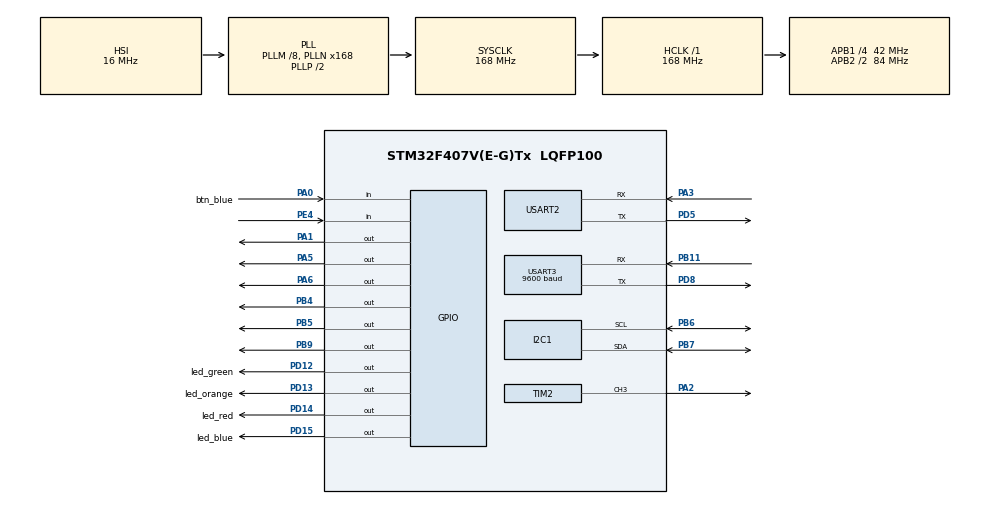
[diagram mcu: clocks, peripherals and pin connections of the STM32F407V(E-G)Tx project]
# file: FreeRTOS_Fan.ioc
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Mcu.Family=STM32F4
Mcu.Name=STM32F407V(E-G)Tx
Mcu.Package=LQFP100
NVIC.PriorityGroup=NVIC_PRIORITYGROUP_4
NVIC.TIM7_IRQn=true\:15\:0\:false\:false\:true\:false\:true\:true
NVIC.TimeBase=TIM7_IRQn
NVIC.TimeBaseIP=TIM7
NVIC.USART3_IRQn=true\:5\:0\:true\:false\:true\:true\:true\:true
PA0-WKUP.GPIO_Label=btn_blue
PA0-WKUP.Signal=GPIO_Input
PA1.Signal=GPIO_Output
PA13.Mode=Serial_Wire
PA13.Signal=SYS_JTMS-SWDIO
PA14.Mode=Serial_Wire
PA14.Signal=SYS_JTCK-SWCLK
PA2.Signal=S_TIM2_CH3
PA3.Mode=Asynchronous
PA3.Signal=USART2_RX
PA5.Signal=GPIO_Output
PA6.Signal=GPIO_Output
PB11.Mode=Asynchronous
PB11.Signal=USART3_RX
PB4.Signal=GPIO_Output
PB5.Signal=GPIO_Output
PB6.Mode=I2C
PB6.Signal=I2C1_SCL
PB7.Mode=I2C
PB7.Signal=I2C1_SDA
PB9.Signal=GPIO_Output
PD12.GPIO_Label=led_green
PD12.Signal=GPIO_Output
PD13.GPIO_Label=led_orange
PD13.Signal=GPIO_Output
PD14.GPIO_Label=led_red
PD14.Signal=GPIO_Output
PD15.GPIO_Label=led_blue
PD15.Signal=GPIO_Output
PD5.Mode=Asynchronous
PD5.Signal=USART2_TX
PD8.Mode=Asynchronous
PD8.Signal=USART3_TX
PE4.Signal=GPIO_Input
PH0-OSC_IN.Mode=HSE-External-Oscillator
PH0-OSC_IN.Signal=RCC_OSC_IN
PH1-OSC_OUT.Mode=HSE-External-Oscillator
PH1-OSC_OUT.Signal=RCC_OSC_OUT
ProjectManager.HeapSize=0x200
ProjectManager.StackSize=0x400
ProjectManager.TargetToolchain=STM32CubeIDE
RCC.48MHZClocksFreq_Value=84000000
RCC.AHBFreq_Value=168000000
RCC.APB1CLKDivider=RCC_HCLK_DIV4
RCC.APB1Freq_Value=42000000
RCC.APB1TimFreq_Value=84000000
RCC.APB2CLKDivider=RCC_HCLK_DIV2
RCC.APB2Freq_Value=84000000
RCC.APB2TimFreq_Value=168000000
RCC.CortexFreq_Value=168000000
RCC.HCLKFreq_Value=168000000
RCC.HSE_VALUE=25000000
RCC.HSI_VALUE=16000000
RCC.LSE_VALUE=32768
RCC.PLLM=8
RCC.PLLN=168
RCC.SYSCLKFreq_VALUE=168000000
RCC.SYSCLKSource=RCC_SYSCLKSOURCE_PLLCLK
RCC.VCOOutputFreq_Value=336000000
SH.S_TIM2_CH3.0=TIM2_CH3,PWM Generation3 CH3
TIM1.Prescaler=167
TIM2.Channel-PWM\ Generation3\ CH3=TIM_CHANNEL_3
TIM2.Period=1999
TIM2.Prescaler=89
USART2.VirtualMode=VM_ASYNC
USART3.BaudRate=9600
USART3.VirtualMode=VM_ASYNC
VP_SYS_VS_tim7.Mode=TIM7
VP_TIM1_VS_ClockSourceINT.Mode=Internal
VP_TIM2_VS_ClockSourceINT.Mode=Internal
board=custom

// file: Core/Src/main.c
/* USER CODE BEGIN Header */
/**
  ******************************************************************************
  * @file           : main.c
  * @brief          : Main program body
  ******************************************************************************
  * @attention
  *
  * Copyright (c) 2025 STMicroelectronics.
  * All rights reserved.
  *
  * This software is licensed under terms that can be found in the LICENSE file
  * in the root directory of this software component.
  * If no LICENSE file comes with this software, it is provided AS-IS.
  *
  ******************************************************************************
  */
/* USER CODE END Header */
#include "main.h"

/* USER CODE BEGIN Includes */
#include <stdio.h>
#include "ssd1306.h"
#include "ssd1306_tests.h"
#include "ssd1306_fonts.h"
#include "FreeRTOS.h"
#include "task.h"
#include "queue.h"
#include "state.h"
#include "string.h"
#include "log_queue.h"
#include "fan_control.h"
#include "bt.h"
#include "dht11.h"
#include "ir_sensor.h"
#include "display_oled.h"
#include "logging.h"
/* USER CODE END Includes */

I2C_HandleTypeDef hi2c1;
TIM_HandleTypeDef htim1;
TIM_HandleTypeDef htim2;
UART_HandleTypeDef huart2;
UART_HandleTypeDef huart3;

void SystemClock_Config(void);
static void MX_GPIO_Init(void);
static void MX_I2C1_Init(void);
static void MX_TIM2_Init(void);
static void MX_TIM1_Init(void);
static void MX_USART3_UART_Init(void);
static void MX_USART2_UART_Init(void);

int main(void)
{

  /* MCU Configuration--------------------------------------------------------*/

  /* Reset of all peripherals, Initializes the Flash interface and the Systick. */
  HAL_Init();

  /* Configure the system clock */
  SystemClock_Config();

  /* Initialize all configured peripherals */
  MX_GPIO_Init();
  MX_I2C1_Init();
  MX_TIM2_Init();
  MX_TIM1_Init();
  MX_USART3_UART_Init();
  MX_USART2_UART_Init();
  /* USER CODE BEGIN 2 */
  ssd1306_Init();
  HAL_TIM_PWM_Start(&htim2, TIM_CHANNEL_3); //PB2 TIM2 CH3
  // init
  ir_init();
  log_init();
  state_init();
  bt_init();
  log_record(LOG_SRC_SYSTEM, LOG_TYPE_INFO,
             "system boot: started");

  xTaskCreate(
			  FanControl_task,
			  "fan",
			  256,
			  NULL,
			  1,
			  NULL);

  xTaskCreate(
			  DHT11_task,
			  "dht11",
			  256,
			  NULL,
			  1,
			  NULL);

  xTaskCreate(
		  	  OLED_task,
  			  "oled",
  			  256,
  			  NULL,
  			  1,
  			  NULL);

  xTaskCreate(
		  	  BtReceive_task,
  			  "bt",
  			  256,
  			  NULL,
  			  2,
  			  NULL);

  xTaskCreate(
		  	  IR_task,
			  "ir",
			  128,
			  NULL,
			  1,
			  NULL);

  xTaskCreate(
          Log_task,
          "log",
          256,
          NULL,
          1,
          NULL);

  vTaskStartScheduler();
  /* USER CODE END 2 */

  /* Infinite loop */
  while (1)
  {

  }
}

void SystemClock_Config(void)
{
  RCC_OscInitTypeDef RCC_OscInitStruct = {0};
  RCC_ClkInitTypeDef RCC_ClkInitStruct = {0};

  /** Configure the main internal regulator output voltage
  */
  __HAL_RCC_PWR_CLK_ENABLE();
  __HAL_PWR_VOLTAGESCALING_CONFIG(PWR_REGULATOR_VOLTAGE_SCALE1);

  /** Initializes the RCC Oscillators according to the specified parameters
  * in the RCC_OscInitTypeDef structure.
  */
  RCC_OscInitStruct.OscillatorType = RCC_OSCILLATORTYPE_HSI;
  RCC_OscInitStruct.HSIState = RCC_HSI_ON;
  RCC_OscInitStruct.HSICalibrationValue = RCC_HSICALIBRATION_DEFAULT;
  RCC_OscInitStruct.PLL.PLLState = RCC_PLL_ON;
  RCC_OscInitStruct.PLL.PLLSource = RCC_PLLSOURCE_HSI;
  RCC_OscInitStruct.PLL.PLLM = 8;
  RCC_OscInitStruct.PLL.PLLN = 168;
  RCC_OscInitStruct.PLL.PLLP = RCC_PLLP_DIV2;
  RCC_OscInitStruct.PLL.PLLQ = 4;
  if (HAL_RCC_OscConfig(&RCC_OscInitStruct) != HAL_OK)
  {
    Error_Handler();
  }

  /** Initializes the CPU, AHB and APB buses clocks
  */
  RCC_ClkInitStruct.ClockType = RCC_CLOCKTYPE_HCLK|RCC_CLOCKTYPE_SYSCLK
                              |RCC_CLOCKTYPE_PCLK1|RCC_CLOCKTYPE_PCLK2;
  RCC_ClkInitStruct.SYSCLKSource = RCC_SYSCLKSOURCE_PLLCLK;
  RCC_ClkInitStruct.AHBCLKDivider = RCC_SYSCLK_DIV1;
  RCC_ClkInitStruct.APB1CLKDivider = RCC_HCLK_DIV4;
  RCC_ClkInitStruct.APB2CLKDivider = RCC_HCLK_DIV2;

  if (HAL_RCC_ClockConfig(&RCC_ClkInitStruct, FLASH_LATENCY_5) != HAL_OK)
  {
    Error_Handler();
  }
}

static void MX_I2C1_Init(void)
{

  hi2c1.Instance = I2C1;
  hi2c1.Init.ClockSpeed = 100000;
  hi2c1.Init.DutyCycle = I2C_DUTYCYCLE_2;
  hi2c1.Init.OwnAddress1 = 0;
  hi2c1.Init.AddressingMode = I2C_ADDRESSINGMODE_7BIT;
  hi2c1.Init.DualAddressMode = I2C_DUALADDRESS_DISABLE;
  hi2c1.Init.OwnAddress2 = 0;
  hi2c1.Init.GeneralCallMode = I2C_GENERALCALL_DISABLE;
  hi2c1.Init.NoStretchMode = I2C_NOSTRETCH_DISABLE;
  if (HAL_I2C_Init(&hi2c1) != HAL_OK)
  {
    Error_Handler();
  }

}

static void MX_TIM1_Init(void)
{

  TIM_ClockConfigTypeDef sClockSourceConfig = {0};
  TIM_MasterConfigTypeDef sMasterConfig = {0};

  htim1.Instance = TIM1;
  htim1.Init.Prescaler = 167;
  htim1.Init.CounterMode = TIM_COUNTERMODE_UP;
  htim1.Init.Period = 65535;
  htim1.Init.ClockDivision = TIM_CLOCKDIVISION_DIV1;
  htim1.Init.RepetitionCounter = 0;
  htim1.Init.AutoReloadPreload = TIM_AUTORELOAD_PRELOAD_DISABLE;
  if (HAL_TIM_Base_Init(&htim1) != HAL_OK)
  {
    Error_Handler();
  }
  sClockSourceConfig.ClockSource = TIM_CLOCKSOURCE_INTERNAL;
  if (HAL_TIM_ConfigClockSource(&htim1, &sClockSourceConfig) != HAL_OK)
  {
    Error_Handler();
  }
  sMasterConfig.MasterOutputTrigger = TIM_TRGO_RESET;
  sMasterConfig.MasterSlaveMode = TIM_MASTERSLAVEMODE_DISABLE;
  if (HAL_TIMEx_MasterConfigSynchronization(&htim1, &sMasterConfig) != HAL_OK)
  {
    Error_Handler();
  }

}

static void MX_TIM2_Init(void)
{

  TIM_ClockConfigTypeDef sClockSourceConfig = {0};
  TIM_MasterConfigTypeDef sMasterConfig = {0};
  TIM_OC_InitTypeDef sConfigOC = {0};

  htim2.Instance = TIM2;
  htim2.Init.Prescaler = 89;
  htim2.Init.CounterMode = TIM_COUNTERMODE_UP;
  htim2.Init.Period = 1999;
  htim2.Init.ClockDivision = TIM_CLOCKDIVISION_DIV1;
  htim2.Init.AutoReloadPreload = TIM_AUTORELOAD_PRELOAD_DISABLE;
  if (HAL_TIM_Base_Init(&htim2) != HAL_OK)
  {
    Error_Handler();
  }
  sClockSourceConfig.ClockSource = TIM_CLOCKSOURCE_INTERNAL;
  if (HAL_TIM_ConfigClockSource(&htim2, &sClockSourceConfig) != HAL_OK)
  {
    Error_Handler();
  }
  if (HAL_TIM_PWM_Init(&htim2) != HAL_OK)
  {
    Error_Handler();
  }
  sMasterConfig.MasterOutputTrigger = TIM_TRGO_RESET;
  sMasterConfig.MasterSlaveMode = TIM_MASTERSLAVEMODE_DISABLE;
  if (HAL_TIMEx_MasterConfigSynchronization(&htim2, &sMasterConfig) != HAL_OK)
  {
    Error_Handler();
  }
  sConfigOC.OCMode = TIM_OCMODE_PWM1;
  sConfigOC.Pulse = 0;
  sConfigOC.OCPolarity = TIM_OCPOLARITY_HIGH;
  sConfigOC.OCFastMode = TIM_OCFAST_DISABLE;
  if (HAL_TIM_PWM_ConfigChannel(&htim2, &sConfigOC, TIM_CHANNEL_3) != HAL_OK)
  {
    Error_Handler();
  }
  HAL_TIM_MspPostInit(&htim2);

}

static void MX_USART2_UART_Init(void)
{

  huart2.Instance = USART2;
  huart2.Init.BaudRate = 115200;
  huart2.Init.WordLength = UART_WORDLENGTH_8B;
  huart2.Init.StopBits = UART_STOPBITS_1;
  huart2.Init.Parity = UART_PARITY_NONE;
  huart2.Init.Mode = UART_MODE_TX_RX;
  huart2.Init.HwFlowCtl = UART_HWCONTROL_NONE;
  huart2.Init.OverSampling = UART_OVERSAMPLING_16;
  if (HAL_UART_Init(&huart2) != HAL_OK)
  {
    Error_Handler();
  }

}

static void MX_USART3_UART_Init(void)
{

  huart3.Instance = USART3;
  huart3.Init.BaudRate = 9600;
  huart3.Init.WordLength = UART_WORDLENGTH_8B;
  huart3.Init.StopBits = UART_STOPBITS_1;
  huart3.Init.Parity = UART_PARITY_NONE;
  huart3.Init.Mode = UART_MODE_TX_RX;
  huart3.Init.HwFlowCtl = UART_HWCONTROL_NONE;
  huart3.Init.OverSampling = UART_OVERSAMPLING_16;
  if (HAL_UART_Init(&huart3) != HAL_OK)
  {
    Error_Handler();
  }

}

static void MX_GPIO_Init(void)
{
  GPIO_InitTypeDef GPIO_InitStruct = {0};

  /* GPIO Ports Clock Enable */
  __HAL_RCC_GPIOE_CLK_ENABLE();
  __HAL_RCC_GPIOH_CLK_ENABLE();
  __HAL_RCC_GPIOA_CLK_ENABLE();
  __HAL_RCC_GPIOB_CLK_ENABLE();
  __HAL_RCC_GPIOD_CLK_ENABLE();

  /*Configure GPIO pin Output Level */
  HAL_GPIO_WritePin(GPIOA, GPIO_PIN_1|GPIO_PIN_5|GPIO_PIN_6, GPIO_PIN_RESET);

  /*Configure GPIO pin Output Level */
  HAL_GPIO_WritePin(GPIOD, led_green_Pin|led_orange_Pin|led_red_Pin|led_blue_Pin, GPIO_PIN_RESET);

  /*Configure GPIO pin Output Level */
  HAL_GPIO_WritePin(GPIOB, GPIO_PIN_4|GPIO_PIN_5|GPIO_PIN_9, GPIO_PIN_RESET);

  /*Configure GPIO pin : PE4 */
  GPIO_InitStruct.Pin = GPIO_PIN_4;
  GPIO_InitStruct.Mode = GPIO_MODE_INPUT;
  GPIO_InitStruct.Pull = GPIO_NOPULL;
  HAL_GPIO_Init(GPIOE, &GPIO_InitStruct);

  /*Configure GPIO pin : btn_blue_Pin */
  GPIO_InitStruct.Pin = btn_blue_Pin;
  GPIO_InitStruct.Mode = GPIO_MODE_INPUT;
  GPIO_InitStruct.Pull = GPIO_NOPULL;
  HAL_GPIO_Init(btn_blue_GPIO_Port, &GPIO_InitStruct);

  /*Configure GPIO pins : PA1 PA5 PA6 */
  GPIO_InitStruct.Pin = GPIO_PIN_1|GPIO_PIN_5|GPIO_PIN_6;
  GPIO_InitStruct.Mode = GPIO_MODE_OUTPUT_PP;
  GPIO_InitStruct.Pull = GPIO_NOPULL;
  GPIO_InitStruct.Speed = GPIO_SPEED_FREQ_LOW;
  HAL_GPIO_Init(GPIOA, &GPIO_InitStruct);

  /*Configure GPIO pins : led_green_Pin led_orange_Pin led_red_Pin led_blue_Pin */
  GPIO_InitStruct.Pin = led_green_Pin|led_orange_Pin|led_red_Pin|led_blue_Pin;
  GPIO_InitStruct.Mode = GPIO_MODE_OUTPUT_PP;
  GPIO_InitStruct.Pull = GPIO_NOPULL;
  GPIO_InitStruct.Speed = GPIO_SPEED_FREQ_LOW;
  HAL_GPIO_Init(GPIOD, &GPIO_InitStruct);

  /*Configure GPIO pins : PB4 PB5 PB9 */
  GPIO_InitStruct.Pin = GPIO_PIN_4|GPIO_PIN_5|GPIO_PIN_9;
  GPIO_InitStruct.Mode = GPIO_MODE_OUTPUT_PP;
  GPIO_InitStruct.Pull = GPIO_NOPULL;
  GPIO_InitStruct.Speed = GPIO_SPEED_FREQ_LOW;
  HAL_GPIO_Init(GPIOB, &GPIO_InitStruct);

}

/* USER CODE BEGIN 4 */
void HAL_UART_RxCpltCallback(UART_HandleTypeDef *huart) {
	if (huart->Instance == USART3) {
		bt_uart_from_isr();

	}
}

/* USER CODE END 4 */

void HAL_TIM_PeriodElapsedCallback(TIM_HandleTypeDef *htim)
{
  if (htim->Instance == TIM7) {
    HAL_IncTick();
  }
}

void Error_Handler(void)
{
  __disable_irq();
  while (1)
  {
  }
}
